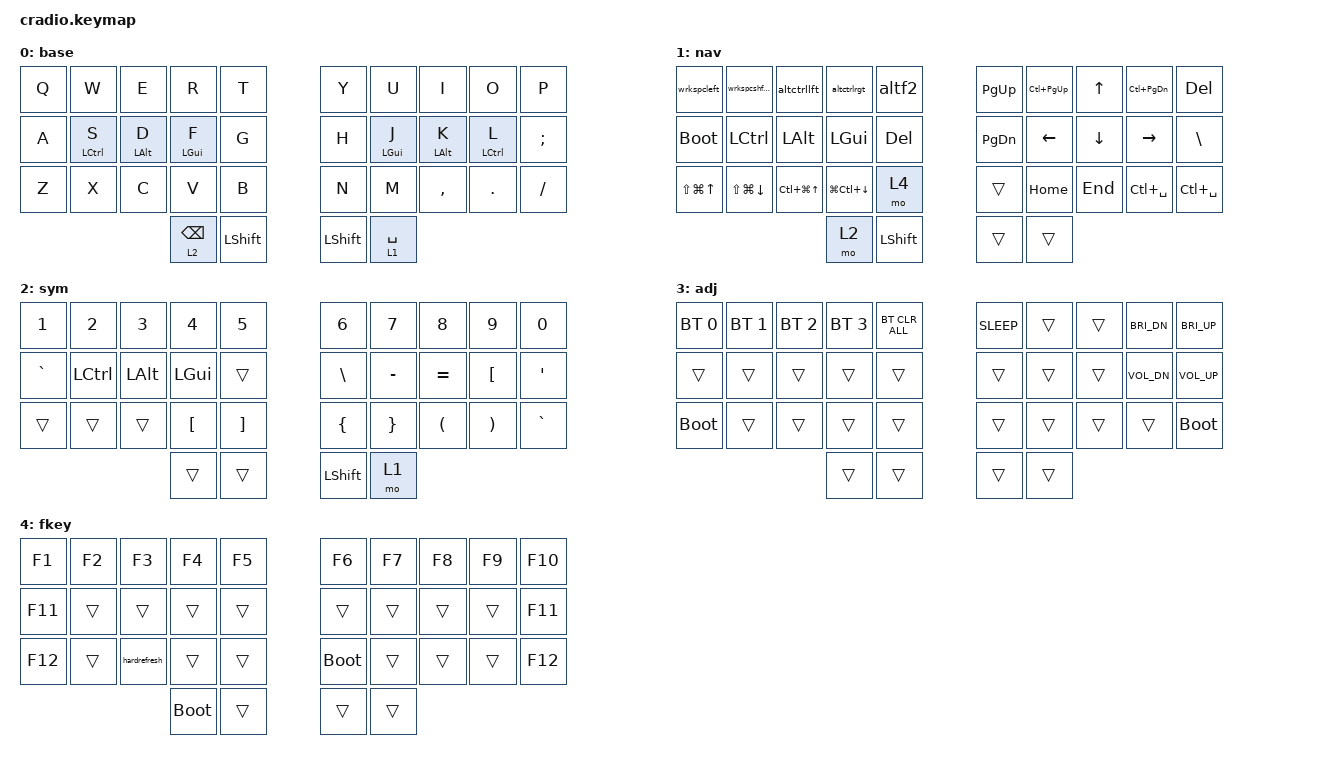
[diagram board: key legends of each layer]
#include <behaviors.dtsi>
#include <dt-bindings/zmk/bt.h>
#include <dt-bindings/zmk/keys.h>

#define BASE 0
#define NAV  1
#define SYM  2
#define ADJ  3

/ {
    behaviors {
        // Simple hold-tap for layer/key combo

        lt_simple: layer_tap_simple {
            compatible = "zmk,behavior-hold-tap";
            #binding-cells = <2>;
            tapping-term-ms = <200>;
            flavor = "tap-preferred";
            bindings = <&mo>, <&kp>;
        };

        // Simple mod-tap for modifier/key combo

        mt_simple: mod_tap_simple {
            compatible = "zmk,behavior-hold-tap";
            #binding-cells = <2>;
            tapping-term-ms = <200>;
            flavor = "tap-preferred";
            bindings = <&kp>, <&kp>;
        };
    };

    conditional_layers {
        compatible = "zmk,conditional-layers";

        tri_layer {
            if-layers = <1 2>;
            then-layer = <3>;
        };
    };

    combos {
        compatible = "zmk,combos";

        enter_combo {
            bindings = <&kp ENTER>;
            key-positions = <16 17 18>;
        };

        escape_combo {
            bindings = <&kp ESCAPE>;
            key-positions = <2 1>;
        };

        tag_combo {
            bindings = <&kp TAB>;
            key-positions = <11 12 13>;
        };

        bootloader_combo {
            bindings = <&bootloader>;
            key-positions = <0 1 2 3 4>;
            timeout-ms = <50>;
        };

        // Left half bootloader combo - top row left side
        bootloader_left_top {
            bindings = <&bootloader>;
            key-positions = <0 1 2>;
            timeout-ms = <50>;
        };

        // Left half bootloader combo - bottom row left side  
        bootloader_left_bottom {
            bindings = <&bootloader>;
            key-positions = <20 21 22>;
            timeout-ms = <50>;
        };

        // Left half bootloader combo - left column
        bootloader_left_column {
            bindings = <&bootloader>;
            key-positions = <0 10 20>;
            timeout-ms = <50>;
        };

        // Emergency bootloader - all left thumb keys
        bootloader_left_thumbs {
            bindings = <&bootloader>;
            key-positions = <32 33>;
            timeout-ms = <50>;
        };
    };

    macros {
        altf2: altf2 {
            compatible = "zmk,behavior-macro";
            #binding-cells = <0>;
            bindings = <&macro_press>, <&kp LA(F2)>;

            label = "ALTF2";
        };

        altctrlrgt: altctrl {
            compatible = "zmk,behavior-macro";
            #binding-cells = <0>;
            bindings = <&kp LC(LA(RIGHT_ARROW))>;
            label = "ALTCTRL";
        };

        altctrllft: altctrllft {
            compatible = "zmk,behavior-macro";
            #binding-cells = <0>;
            bindings = <&kp LA(LC(LEFT))>;
            label = "ALTCTRLLFT";
        };

        wrkspcleft: wrkspcleft {
            compatible = "zmk,behavior-macro";
            #binding-cells = <0>;
            bindings = <&kp LA(LC(LS(LEFT_ARROW)))>;
            label = "WRKSPCLEFT";
        };

        wrkspcshftrght: wrkspcshftrght {
            compatible = "zmk,behavior-macro";
            #binding-cells = <0>;
            bindings = <&kp LS(LA(LC(RIGHT)))>;
            label = "WRKSPCSHFTRGHT";
        };

        hardrefresh: hardrefresh {
            compatible = "zmk,behavior-macro";
            #binding-cells = <0>;
            bindings = <&kp LC(F5)>;
            label = "HARDREFRESH";
        };
    };

    keymap {
        compatible = "zmk,keymap";

        base {
            bindings = <
&kp Q  &kp W               &kp E              &kp R              &kp T      &kp Y      &kp U               &kp I              &kp O               &kp P
&kp A  &mt_simple LCTRL S  &mt_simple LALT D  &mt_simple LGUI F  &kp G      &kp H      &mt_simple LGUI J   &mt_simple LALT K  &mt_simple LCTRL L  &kp SEMI
&kp Z  &kp X               &kp C              &kp V              &kp B      &kp N      &kp M               &kp COMMA          &kp DOT             &kp FSLH
                                              &lt_simple 2 BSPC  &kp LSHFT  &kp LSHFT  &lt_simple 1 SPACE
            >;
        };

        nav {
            bindings = <
&wrkspcleft           &wrkspcshftrght   &altctrllft           &altctrlrgt       &altf2      &kp PAGE_UP    &kp LC(PG_UP)  &kp UP    &kp LC(PG_DN)  &kp DELETE
&bootloader           &kp LCTRL         &kp LALT              &kp LGUI          &kp DELETE  &kp PAGE_DOWN  &kp LEFT       &kp DOWN  &kp RIGHT      &kp BSLH
&kp LS(LG(UP_ARROW))  &kp LS(LG(DOWN))  &kp LC(LG(UP_ARROW))  &kp LG(LC(DOWN))  &mo 4       &trans         &kp HOME       &kp END   &kp LC(SPACE)  &kp LC(SPACE)
                                                              &mo 2             &kp LSHFT   &trans         &trans
            >;
        };

        sym {
            bindings = <
&kp N1     &kp N2     &kp N3    &kp N4            &kp N5             &kp N6          &kp N7           &kp N8                &kp N9                 &kp N0
&kp GRAVE  &kp LCTRL  &kp LALT  &kp LGUI          &trans             &kp BSLH        &kp MINUS        &kp EQUAL             &kp LBKT               &kp SINGLE_QUOTE
&trans     &trans     &trans    &kp LEFT_BRACKET  &kp RIGHT_BRACKET  &kp LEFT_BRACE  &kp RIGHT_BRACE  &kp LEFT_PARENTHESIS  &kp RIGHT_PARENTHESIS  &kp GRAVE
                                &trans            &trans             &kp LSHFT       &mo 1
            >;
        };

        adj {
            bindings = <
&bt BT_SEL 0  &bt BT_SEL 1  &bt BT_SEL 2  &bt BT_SEL 3  &bt BT_CLR_ALL  &kp C_SLEEP  &trans  &trans  &kp C_BRI_DN  &kp C_BRI_UP
&trans        &trans        &trans        &trans        &trans          &trans       &trans  &trans  &kp C_VOL_DN  &kp C_VOL_UP
&bootloader   &trans        &trans        &trans        &trans          &trans       &trans  &trans  &trans        &bootloader
                                          &trans        &trans          &trans       &trans
            >;
        };

        fkey {
            bindings = <
&kp F1   &kp F2  &kp F3        &kp F4  &kp F5  &kp F6  &kp F7  &kp F8  &kp F9  &kp F10
&kp F11  &trans  &trans        &trans  &trans  &trans  &trans  &trans  &trans  &kp F11
&kp F12  &trans  &hardrefresh  &trans  &trans  &bootloader  &trans  &trans  &trans  &kp F12
                               &bootloader  &trans  &trans  &trans
            >;
        };
    };
};

&lt { tapping-term-ms = <200>; };

&mt { tapping-term-ms = <200>; };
